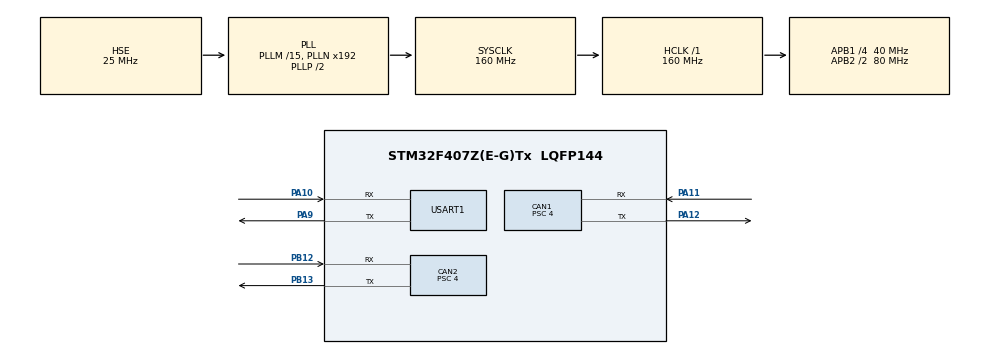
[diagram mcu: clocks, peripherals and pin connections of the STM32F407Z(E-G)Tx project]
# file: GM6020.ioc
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CAN1.BS1=CAN_BS1_4TQ
CAN1.BS2=CAN_BS2_5TQ
CAN1.CalculateBaudRate=1000000
CAN1.CalculateTimeBit=1000
CAN1.CalculateTimeQuantum=100.0
CAN1.Prescaler=4
CAN2.BS1=CAN_BS1_4TQ
CAN2.BS2=CAN_BS2_5TQ
CAN2.CalculateBaudRate=1000000
CAN2.CalculateTimeBit=1000
CAN2.CalculateTimeQuantum=100.0
CAN2.Prescaler=4
Mcu.Family=STM32F4
Mcu.Name=STM32F407Z(E-G)Tx
Mcu.Package=LQFP144
NVIC.CAN1_RX0_IRQn=true\:0\:0\:false\:false\:true\:true\:true\:true
NVIC.CAN2_RX1_IRQn=true\:0\:0\:true\:false\:true\:true\:true\:true
NVIC.CAN2_SCE_IRQn=true\:0\:0\:false\:false\:true\:true\:true\:true
NVIC.PriorityGroup=NVIC_PRIORITYGROUP_4
NVIC.TIM1_UP_TIM10_IRQn=true\:0\:0\:true\:false\:true\:false\:true\:true
NVIC.TimeBase=TIM1_UP_TIM10_IRQn
NVIC.TimeBaseIP=TIM1
PA10.Mode=Asynchronous
PA10.Signal=USART1_RX
PA11.Mode=CAN_Activate
PA11.Signal=CAN1_RX
PA12.Mode=CAN_Activate
PA12.Signal=CAN1_TX
PA13.Mode=Serial_Wire
PA13.Signal=SYS_JTMS-SWDIO
PA14.Mode=Serial_Wire
PA14.Signal=SYS_JTCK-SWCLK
PA9.Mode=Asynchronous
PA9.Signal=USART1_TX
PB12.Mode=CAN_Activate
PB12.Signal=CAN2_RX
PB13.Mode=CAN_Activate
PB13.Signal=CAN2_TX
PH0-OSC_IN.Mode=HSE-External-Oscillator
PH0-OSC_IN.Signal=RCC_OSC_IN
PH1-OSC_OUT.Mode=HSE-External-Oscillator
PH1-OSC_OUT.Signal=RCC_OSC_OUT
ProjectManager.HeapSize=0x200
ProjectManager.StackSize=0x400
ProjectManager.TargetToolchain=MDK-ARM V5.32
RCC.48MHZClocksFreq_Value=80000000
RCC.AHBFreq_Value=160000000
RCC.APB1CLKDivider=RCC_HCLK_DIV4
RCC.APB1Freq_Value=40000000
RCC.APB1TimFreq_Value=80000000
RCC.APB2CLKDivider=RCC_HCLK_DIV2
RCC.APB2Freq_Value=80000000
RCC.APB2TimFreq_Value=160000000
RCC.CortexFreq_Value=160000000
RCC.HCLKFreq_Value=160000000
RCC.HSE_VALUE=25000000
RCC.HSI_VALUE=16000000
RCC.PLLM=15
RCC.PLLSourceVirtual=RCC_PLLSOURCE_HSE
RCC.SYSCLKFreq_VALUE=160000000
RCC.SYSCLKSource=RCC_SYSCLKSOURCE_PLLCLK
RCC.VCOOutputFreq_Value=320000000
TIM6.Period=999
TIM6.Prescaler=79
USART1.VirtualMode=VM_ASYNC
VP_SYS_VS_tim1.Mode=TIM1
VP_TIM6_VS_ClockSourceINT.Mode=Enable_Timer
board=custom

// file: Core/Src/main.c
/* USER CODE BEGIN Header */
/**
  ******************************************************************************
  * @file           : main.c
  * @brief          : Main program body
  ******************************************************************************
  * @attention
  *
  * Copyright (c) 2023 STMicroelectronics.
  * All rights reserved.
  *
  * This software is licensed under terms that can be found in the LICENSE file
  * in the root directory of this software component.
  * If no LICENSE file comes with this software, it is provided AS-IS.
  *
  ******************************************************************************
  */
/* USER CODE END Header */
#include "main.h"
#include "can.h"
#include "tim.h"
#include "usart.h"
#include "gpio.h"

/* USER CODE BEGIN Includes */
#include "GM6020.h"
#include "can_bsp.h"
#include "delay.h"
/* USER CODE END Includes */

void SystemClock_Config(void);

int main(void)
{

  /* MCU Configuration--------------------------------------------------------*/

  /* Reset of all peripherals, Initializes the Flash interface and the Systick. */
  HAL_Init();

  /* Configure the system clock */
  SystemClock_Config();

  /* Initialize all configured peripherals */
  MX_GPIO_Init();
  MX_CAN2_Init();
  MX_TIM6_Init();
  MX_USART1_UART_Init();
  MX_CAN1_Init();
  /* USER CODE BEGIN 2 */
CAN_Init(&hcan2);
  /* USER CODE END 2 */

  /* Infinite loop */
  while (1)
  {

    /* USER CODE BEGIN 3 */
		GM6020_Set_Speed(50,5);
		HAL_Delay(2);

	 // 	GM6020_Set_Pos(360,5);
	//	GM6020_Set_Speed(50,5);
   // int speed=GM6020_Get_Speed(5);
		//int cnt5=GM6020_Get_Pos(5);
	//	printf("%d",cnt5);
	//	double angle;//=GM6020_Cnt2Ang(cnt5, 5);
	//	printf("%d,%d\n",angle,360);

//		HAL_TimDelay_ms(1);
		HAL_Delay(0);
  }
  /* USER CODE END 3 */
}

void SystemClock_Config(void)
{
  RCC_OscInitTypeDef RCC_OscInitStruct = {0};
  RCC_ClkInitTypeDef RCC_ClkInitStruct = {0};

  /** Configure the main internal regulator output voltage
  */
  __HAL_RCC_PWR_CLK_ENABLE();
  __HAL_PWR_VOLTAGESCALING_CONFIG(PWR_REGULATOR_VOLTAGE_SCALE1);

  /** Initializes the RCC Oscillators according to the specified parameters
  * in the RCC_OscInitTypeDef structure.
  */
  RCC_OscInitStruct.OscillatorType = RCC_OSCILLATORTYPE_HSE;
  RCC_OscInitStruct.HSEState = RCC_HSE_ON;
  RCC_OscInitStruct.PLL.PLLState = RCC_PLL_ON;
  RCC_OscInitStruct.PLL.PLLSource = RCC_PLLSOURCE_HSE;
  RCC_OscInitStruct.PLL.PLLM = 15;
  RCC_OscInitStruct.PLL.PLLN = 192;
  RCC_OscInitStruct.PLL.PLLP = RCC_PLLP_DIV2;
  RCC_OscInitStruct.PLL.PLLQ = 4;
  if (HAL_RCC_OscConfig(&RCC_OscInitStruct) != HAL_OK)
  {
    Error_Handler();
  }

  /** Initializes the CPU, AHB and APB buses clocks
  */
  RCC_ClkInitStruct.ClockType = RCC_CLOCKTYPE_HCLK|RCC_CLOCKTYPE_SYSCLK
                              |RCC_CLOCKTYPE_PCLK1|RCC_CLOCKTYPE_PCLK2;
  RCC_ClkInitStruct.SYSCLKSource = RCC_SYSCLKSOURCE_PLLCLK;
  RCC_ClkInitStruct.AHBCLKDivider = RCC_SYSCLK_DIV1;
  RCC_ClkInitStruct.APB1CLKDivider = RCC_HCLK_DIV4;
  RCC_ClkInitStruct.APB2CLKDivider = RCC_HCLK_DIV2;

  if (HAL_RCC_ClockConfig(&RCC_ClkInitStruct, FLASH_LATENCY_5) != HAL_OK)
  {
    Error_Handler();
  }
}

/* USER CODE BEGIN 4 */
//void HAL_CAN_RxCpltCallback(CAN_HandleTypeDef *hcan) {
//	printf("RXIT");
//    if (hcan == &hcan2) {
//        // 在这里处理CAN2接收中断
//        CAN_RxHeaderTypeDef rxHeader;
//        uint8_t rxData[8];
//
//        // 从接收FIFO中读取数据帧
//        HAL_CAN_GetRxMessage(hcan, CAN_RX_FIFO1, &rxHeader, rxData);
//
//        // 在这里处理接收到的CAN数据，例如解析数据帧、处理传感器数据等
//			 if (RxMessage.IDE == CAN_ID_STD) // 标准帧
//    {
//			printf("std");
//      if (RxMessage.StdId >= 0x209 && RxMessage.StdId <= 0x20B)
//			{ GM6020_Get_Feedback(RxMessage.StdId, RxData);
//				printf("1");
//			}
//    }
//    }
//}

void HAL_CAN_RxFifo1MsgPendingCallback(CAN_HandleTypeDef *hcan)//为什么可以rx0
//	void HAL_CAN_RxCpltCallback(CAN_HandleTypeDef *hcan)
{

  if (hcan->Instance == hcan2.Instance)
  {
    CAN_RxHeaderTypeDef RxMessage;
    uint8_t RxData[8] = {0};
    HAL_CAN_GetRxMessage(hcan, CAN_RX_FIFO1, &RxMessage, RxData);

    if (RxMessage.IDE == CAN_ID_STD) // 标准帧
    {

      if (RxMessage.StdId >= 0x209 && RxMessage.StdId <= 0x20B)
			{

				GM6020_Get_Feedback(RxMessage.StdId, RxData);

			}
    }
  }
}
/* USER CODE END 4 */

void HAL_TIM_PeriodElapsedCallback(TIM_HandleTypeDef *htim)
{
  if (htim->Instance == TIM1) {
    HAL_IncTick();
  }
}

void Error_Handler(void)
{
  __disable_irq();
  while (1)
  {
  }
}
